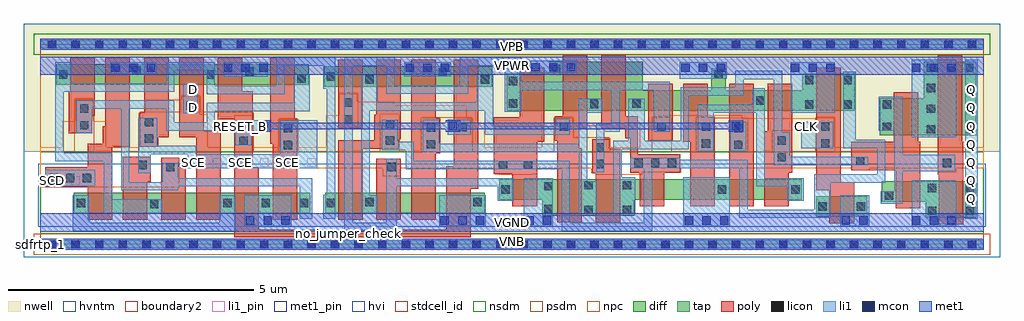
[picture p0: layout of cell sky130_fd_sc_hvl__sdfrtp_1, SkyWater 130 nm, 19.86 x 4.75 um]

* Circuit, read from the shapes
.subckt sky130_fd_sc_hvl__sdfrtp_1 CLK D Q RESET_B SCD SCE VGND VNB VPB VPWR
XM1 n1 SCD n2 VNB sky130_fd_pr__nfet_g5v0d10v5 w=0.42 l=0.5
XM2 n3 SCE n1 VNB sky130_fd_pr__nfet_g5v0d10v5 w=0.42 l=0.5
XM3 n4 n5 n3 VNB sky130_fd_pr__nfet_g5v0d10v5 w=0.42 l=0.5
XM4 n2 D n4 VNB sky130_fd_pr__nfet_g5v0d10v5 w=0.42 l=0.5
XM5 VGND RESET_B n2 VNB sky130_fd_pr__nfet_g5v0d10v5 w=0.42 l=0.5
XM6 n5 SCE VGND VNB sky130_fd_pr__nfet_g5v0d10v5 w=0.42 l=0.5
XM7 n6 n7 n3 VNB sky130_fd_pr__nfet_g5v0d10v5 w=0.42 l=0.5
XM8 n8 n9 n6 VNB sky130_fd_pr__nfet_g5v0d10v5 w=0.42 l=0.5
XM9 n10 n11 n8 VNB sky130_fd_pr__nfet_g5v0d10v5 w=0.42 l=0.5
XM10 VGND RESET_B n10 VNB sky130_fd_pr__nfet_g5v0d10v5 w=0.42 l=0.5
XM11 VGND n7 n9 VNB sky130_fd_pr__nfet_g5v0d10v5 w=0.42 l=0.5
XM12 n11 n6 VGND VNB sky130_fd_pr__nfet_g5v0d10v5 w=0.75 l=0.5
XM13 n12 n9 n11 VNB sky130_fd_pr__nfet_g5v0d10v5 w=0.75 l=0.5
XM14 n13 n7 n12 VNB sky130_fd_pr__nfet_g5v0d10v5 w=0.42 l=0.5
XM15 VGND n14 n13 VNB sky130_fd_pr__nfet_g5v0d10v5 w=0.42 l=0.5
XM16 n15 RESET_B VGND VNB sky130_fd_pr__nfet_g5v0d10v5 w=0.42 l=0.5
XM17 n14 n12 n15 VNB sky130_fd_pr__nfet_g5v0d10v5 w=0.42 l=0.5
XM18 VGND CLK n7 VNB sky130_fd_pr__nfet_g5v0d10v5 w=0.42 l=0.5
XM19 VGND n12 n16 VNB sky130_fd_pr__nfet_g5v0d10v5 w=0.42 l=0.5
XM20 Q n16 VGND VNB sky130_fd_pr__nfet_g5v0d10v5 w=0.75 l=0.5
XM21 n17 n5 n3 VPB sky130_fd_pr__pfet_g5v0d10v5 w=0.42 l=0.5
XM22 VPWR SCD n17 VPB sky130_fd_pr__pfet_g5v0d10v5 w=0.42 l=0.5
XM23 n18 SCE VPWR VPB sky130_fd_pr__pfet_g5v0d10v5 w=0.42 l=0.5
XM24 n3 D n18 VPB sky130_fd_pr__pfet_g5v0d10v5 w=0.42 l=0.5
XM25 VPWR RESET_B n3 VPB sky130_fd_pr__pfet_g5v0d10v5 w=0.42 l=0.5
XM26 n5 SCE VPWR VPB sky130_fd_pr__pfet_g5v0d10v5 w=0.42 l=0.5
XM27 n6 n9 n3 VPB sky130_fd_pr__pfet_g5v0d10v5 w=0.42 l=0.5
XM28 n19 n7 n6 VPB sky130_fd_pr__pfet_g5v0d10v5 w=0.42 l=0.5
XM29 VPWR n11 n19 VPB sky130_fd_pr__pfet_g5v0d10v5 w=0.42 l=0.5
XM30 n6 RESET_B VPWR VPB sky130_fd_pr__pfet_g5v0d10v5 w=0.42 l=0.5
XM31 VPWR n7 n9 VPB sky130_fd_pr__pfet_g5v0d10v5 w=0.75 l=0.5
XM32 n11 n6 VPWR VPB sky130_fd_pr__pfet_g5v0d10v5 w=1 l=0.5
XM33 n12 n7 n11 VPB sky130_fd_pr__pfet_g5v0d10v5 w=1 l=0.5
XM34 n20 n9 n12 VPB sky130_fd_pr__pfet_g5v0d10v5 w=0.42 l=0.5
XM35 VPWR n14 n20 VPB sky130_fd_pr__pfet_g5v0d10v5 w=0.42 l=0.5
XM36 n14 RESET_B VPWR VPB sky130_fd_pr__pfet_g5v0d10v5 w=0.42 l=0.5
XM37 VPWR n12 n14 VPB sky130_fd_pr__pfet_g5v0d10v5 w=0.42 l=0.5
XM38 n7 CLK VPWR VPB sky130_fd_pr__pfet_g5v0d10v5 w=0.75 l=0.5
XM39 VPWR n12 n16 VPB sky130_fd_pr__pfet_g5v0d10v5 w=0.75 l=0.5
XM40 Q n16 VPWR VPB sky130_fd_pr__pfet_g5v0d10v5 w=1.5 l=0.5
.ends

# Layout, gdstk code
import gdstk
lib = gdstk.Library(unit=1e-6, precision=1e-09)
def R(c, l, rs):  # rectangles x0, y0, x1, y1
    for r in rs: c.add(gdstk.rectangle(r[:2], r[2:], *l))
def A(c, l, x, y, w, h, nx, ny, dx, dy):  # array of equal rectangles
    R(c, l, [(x+i*dx, y+j*dy, x+i*dx+w, y+j*dy+h) for i in range(nx) for j in range(ny)])
def P(c, l, *ps):  # polygons
    for p in ps: c.add(gdstk.Polygon(p, *l))
nwell = (64, 20)
diff = (65, 20)
tap = (65, 44)
poly = (66, 20)
licon = (66, 44)
li1_pin = (67, 16)
li1 = (67, 20)
mcon = (67, 44)
met1_pin = (68, 16)
met1 = (68, 20)
hvi = (75, 20)
stdcell_id = (81, 4)
nsdm = (93, 44)
psdm = (94, 20)
npc = (95, 20)
hvntm = (125, 20)
boundary2 = (236, 0)

sky130_fd_sc_hvl__sdfrtp = lib.new_cell('sky130_fd_sc_hvl__sdfrtp_1')
R(sky130_fd_sc_hvl__sdfrtp, nwell, [(-0.33,1.885,19.53,4.485)])
R(sky130_fd_sc_hvl__sdfrtp, diff, [(15.795,0.555,16.825,0.975), (0.685,0.63,5.495,1.05), (5.795,0.63,9.045,1.05), (5.775,3.205,9.195,3.625), (0.325,3.245,5.465,3.665)])
P(sky130_fd_sc_hvl__sdfrtp, diff, [(15.495,1.325),(9.345,1.325),(9.345,0.905),(10.22,0.905),(10.22,0.575),(12.085,0.575),(12.085,0.905),(15.495,0.905)],
  [(16.575,3.465),(15.505,3.465),(15.505,3.135),(13.945,3.135),(13.945,3.58),(13.655,3.58),(13.655,3.135),(12.26,3.135),(12.26,3.715),(10.37,3.715),(10.37,3.465),(9.495,3.465),(9.495,2.715),(16.575,2.715)],
  [(19.05,3.715),(17.98,3.715),(17.98,2.965),(17.085,2.965),(17.085,2.215),(19.05,2.215)],
  [(19.05,1.285),(17.125,1.285),(17.125,0.865),(18.02,0.865),(18.02,0.535),(19.05,0.535)])
R(sky130_fd_sc_hvl__sdfrtp, tap, [(0,-0.085,19.2,0.085), (0,3.985,19.2,4.155)])
R(sky130_fd_sc_hvl__sdfrtp, poly, [(6.84,0.5,7.34,1.735), (14.02,0.775,14.52,3.265), (12.37,2.105,12.87,3.265), (6.06,2.355,6.56,3.755)])
P(sky130_fd_sc_hvl__sdfrtp, poly, [(1.11,3.795),(0.61,3.795),(0.61,3.115),(0.58,3.115),(0.58,2.255),(1.06,2.255),(1.06,2.615),(1.11,2.615)],
  [(1.82,3.795),(1.32,3.795),(1.32,2.405),(1.27,2.405),(1.27,2.045),(0.97,2.045),(0.97,1.565),(0.105,1.565),(0.105,1.16),(0.97,1.16),(0.97,0.5),(1.47,0.5),(1.47,1.985),(1.82,1.985)],
  [(2.25,1.775),(1.68,1.775),(1.68,0.5),(2.18,0.5),(2.18,1.275),(2.25,1.275)],
  [(2.62,3.795),(2.12,3.795),(2.12,2.675),(2.03,2.675),(2.03,1.985),(2.4,1.985),(2.4,2.175),(2.62,2.175)],
  [(2.96,1.565),(2.83,1.565),(2.83,1.755),(2.46,1.755),(2.46,0.5),(2.96,0.5)],
  [(3.67,2.305),(3.33,2.305),(3.33,3.795),(2.83,3.795),(2.83,2.175),(3.17,2.175),(3.17,0.5),(3.67,0.5)],
  [(5.23,2.545),(5.18,2.545),(5.18,3.795),(4.68,3.795),(4.68,2.045),(4.73,2.045),(4.73,0.5),(5.23,0.5)],
  [(7.34,3.755),(6.84,3.755),(6.84,2.635),(6.8,2.635),(6.8,2.115),(6.06,2.115),(6.06,0.5),(6.56,0.5),(6.56,1.945),(7.3,1.945),(7.3,2.135),(7.34,2.135)],
  [(8.135,2.56),(8.05,2.56),(8.05,3.755),(7.55,3.755),(7.55,0.5),(8.05,0.5),(8.05,1.85),(8.135,1.85)],
  [(8.91,3.755),(8.41,3.755),(8.41,1.585),(8.26,1.585),(8.26,0.29),(4.45,0.29),(4.45,1.565),(4.32,1.565),(4.32,3.115),(4.11,3.115),(4.11,3.795),(3.61,3.795),(3.61,2.545),(3.95,2.545),(3.95,0.14),(8.76,0.14),(8.76,1.125),(8.91,1.125)],
  [(10.26,3.595),(9.76,3.595),(9.76,2.585),(9.23,2.585),(9.23,1.435),(9.61,1.435),(9.61,0.775),(10.11,0.775),(10.11,2.085),(10.26,2.085)],
  [(11.135,3.845),(10.635,3.845),(10.635,2.605),(10.47,2.605),(10.47,2.105),(10.52,2.105),(10.52,0.445),(11.02,0.445),(11.02,1.955),(10.97,1.955),(10.97,2.35),(11.135,2.35)],
  [(11.8,1.945),(11.58,1.945),(11.58,2.14),(11.23,2.14),(11.23,1.445),(11.3,1.445),(11.3,0.445),(11.8,0.445)],
  [(13.02,1.835),(12.16,1.835),(12.16,2.605),(11.915,2.605),(11.915,3.845),(11.415,3.845),(11.415,2.35),(11.9,2.35),(11.9,2.155),(12.01,2.155),(12.01,1.455),(12.195,1.455),(12.195,0.775),(12.695,0.775),(12.695,1.455),(13.02,1.455)],
  [(13.73,2.585),(13.58,2.585),(13.58,3.265),(13.08,3.265),(13.08,2.085),(13.23,2.085),(13.23,0.775),(13.73,0.775)],
  [(15.3,3.265),(14.8,3.265),(14.8,2.295),(14.73,2.295),(14.73,0.775),(15.23,0.775),(15.23,1.455),(15.3,1.455)],
  [(16.56,1.265),(16.29,1.265),(16.29,3.595),(15.79,3.595),(15.79,1.095),(16.06,1.095),(16.06,0.425),(16.56,0.425)],
  [(17.91,2.085),(17.87,2.085),(17.87,3.095),(17.37,3.095),(17.37,2.085),(16.5,2.085),(16.5,1.505),(17.41,1.505),(17.41,0.735),(17.91,0.735)],
  [(18.785,2.085),(18.765,2.085),(18.765,3.845),(18.265,3.845),(18.265,1.415),(18.285,1.415),(18.285,0.405),(18.785,0.405)])
A(sky130_fd_sc_hvl__sdfrtp, licon, 0.155, -0.085, 0.17, 0.17, 40, 2, 0.48, 4.07)
A(sky130_fd_sc_hvl__sdfrtp, licon, 3.725, 0.755, 0.17, 0.17, 3, 1, 0.78, 0)
A(sky130_fd_sc_hvl__sdfrtp, licon, 0.185, 1.26, 0.17, 0.17, 3, 1, 0.34, 0)
A(sky130_fd_sc_hvl__sdfrtp, licon, 12.09, 1.565, 0.17, 0.17, 3, 1, 0.34, 0)
R(sky130_fd_sc_hvl__sdfrtp, licon, [(18.06,0.595,18.23,0.765), (18.84,0.595,19.01,0.765), (11.075,0.615,11.245,0.785), (11.855,0.615,12.025,0.785), (10.26,0.635,10.43,0.805), (15.835,0.68,16.005,0.85), (16.615,0.68,16.785,0.85), (2.235,0.735,2.405,0.905), (0.745,0.755,0.915,0.925), (5.835,0.755,6.005,0.925), (6.615,0.775,6.785,0.945), (8.815,0.775,8.985,0.945), (17.185,0.905,17.355,1.075), (9.385,1.03,9.555,1.2), (13.785,1.03,13.955,1.2), (15.285,1.03,15.455,1.2), (18.06,1.055,18.23,1.225), (18.84,1.055,19.01,1.225), (10.26,1.095,10.43,1.265), (11.075,1.115,11.245,1.285), (11.855,1.115,12.025,1.285), (2.56,1.485,2.73,1.655), (7.065,1.485,7.235,1.655), (1.995,1.525,2.165,1.695), (9.33,1.525,9.5,1.695), (9.84,1.525,10.01,1.695), (11.31,1.545,11.48,1.715), (18.365,1.565,18.535,1.735), (16.6,1.605,16.77,1.775), (15.005,1.685,15.175,1.855), (11.31,1.885,11.48,2.055), (4.96,1.935,5.13,2.105), (14.12,1.94,14.29,2.11), (7.865,1.95,8.035,2.12), (13.46,1.965,13.63,2.135), (15.89,1.965,16.06,2.135), (4.05,2.015,4.22,2.185), (7.03,2.025,7.2,2.195), (15.005,2.025,15.175,2.195), (2.13,2.065,2.3,2.235), (18.04,2.255,18.21,2.425), (18.82,2.255,18.99,2.425), (4.96,2.275,5.13,2.445), (14.12,2.28,14.29,2.45), (7.865,2.29,8.035,2.46), (8.51,2.295,8.68,2.465), (10.57,2.305,10.74,2.475), (12.56,2.305,12.73,2.475), (13.46,2.305,13.63,2.475), (15.89,2.305,16.06,2.475), (17.145,2.305,17.315,2.475), (0.81,2.335,0.98,2.505), (4.05,2.355,4.22,2.525), (7.03,2.365,7.2,2.535), (2.13,2.405,2.3,2.575), (6.185,2.455,6.355,2.625), (18.04,2.67,18.21,2.84), (18.82,2.67,18.99,2.84), (0.81,2.675,0.98,2.845), (2.975,2.74,3.145,2.91), (15.565,2.755,15.735,2.925), (16.345,2.755,16.515,2.925), (17.145,2.755,17.315,2.925), (11.19,2.77,11.36,2.94), (9.535,2.775,9.705,2.945), (12.05,2.78,12.22,2.95), (6.185,2.795,6.355,2.965), (14.575,2.84,14.745,3.01), (18.04,3.09,18.21,3.26), (18.82,3.09,18.99,3.26), (9.535,3.235,9.705,3.405), (15.565,3.255,15.735,3.425), (16.345,3.255,16.515,3.425), (6.615,3.265,6.785,3.435), (8.965,3.265,9.135,3.435), (5.235,3.285,5.405,3.455), (5.835,3.33,6.005,3.5), (0.385,3.37,0.555,3.54), (3.385,3.37,3.555,3.54), (13.715,3.37,13.885,3.54), (8.105,3.415,8.275,3.585), (4.17,3.43,4.34,3.6), (1.875,3.455,2.045,3.625), (10.41,3.485,10.58,3.655), (18.04,3.505,18.21,3.675), (18.82,3.505,18.99,3.675)])
A(sky130_fd_sc_hvl__sdfrtp, li1_pin, 18.875, 0.84, 0.17, 0.17, 1, 7, 0, 0.37)
A(sky130_fd_sc_hvl__sdfrtp, li1_pin, 3.035, 1.58, 0.17, 0.17, 6, 1, 0.48, 0)
R(sky130_fd_sc_hvl__sdfrtp, li1_pin, [(0.155,1.21,0.325,1.38), (0.635,1.21,0.805,1.38), (3.995,2.32,4.165,2.49), (15.515,2.32,15.685,2.49), (3.035,2.69,3.205,2.86), (3.035,3.06,3.205,3.23)])
R(sky130_fd_sc_hvl__sdfrtp, li1, [(0,-0.085,19.2,0.085), (4.155,0.365,5.105,0.995), (8.115,0.365,9.065,0.995), (9.84,0.365,10.43,1.345), (13.085,0.365,14.035,1.365), (16.275,0.365,16.865,0.995), (17.73,0.365,18.64,1.305), (18.82,0.515,19.075,3.755), (0.105,1.18,1.115,1.51), (14.04,1.895,14.37,2.49), (15.485,1.955,16.14,2.495), (17.73,2.175,18.64,3.755), (8.295,2.225,8.76,2.535), (2.91,2.66,3.205,3.26), (15.275,2.675,16.165,3.705), (13.015,3.37,13.965,3.705), (3.735,3.405,4.625,3.705), (7.405,3.415,8.355,3.705), (1.42,3.455,2.37,3.705), (9.965,3.485,10.915,3.735), (0,3.985,19.2,4.155)])
P(sky130_fd_sc_hvl__sdfrtp, li1, [(3.975,0.995),(3.645,0.995),(3.645,0.435),(0.995,0.435),(0.995,0.995),(0.665,0.995),(0.665,0.265),(3.975,0.265)],
  [(4.675,2.525),(3.965,2.525),(3.965,2.015),(4.3,2.015),(4.3,2.29),(4.675,2.29)],
  [(5.535,1.345),(2.81,1.345),(2.81,1.655),(2.48,1.655),(2.48,1.265),(1.815,1.265),(1.815,2.755),(2.56,2.755),(2.56,2.31),(3.555,2.31),(3.555,2.705),(5.485,2.705),(5.485,3.455),(5.155,3.455),(5.155,2.875),(3.385,2.875),(3.385,2.48),(2.73,2.48),(2.73,2.925),(0.73,2.925),(0.73,2.255),(1.06,2.255),(1.06,2.755),(1.645,2.755),(1.645,1.095),(2.81,1.095),(2.81,1.175),(5.285,1.175),(5.285,0.515),(5.535,0.515)],
  [(5.635,2.525),(4.88,2.525),(4.88,1.835),(3.175,1.835),(3.175,2.005),(2.38,2.005),(2.38,2.575),(1.995,2.575),(1.995,1.445),(2.245,1.445),(2.245,1.835),(3.005,1.835),(3.005,1.55),(5.635,1.55)],
  [(6.005,3.805),(4.805,3.805),(4.805,3.225),(3.555,3.225),(3.555,3.705),(2.56,3.705),(2.56,3.275),(0.635,3.275),(0.635,3.705),(0.305,3.705),(0.305,1.69),(1.295,1.69),(1.295,0.615),(2.485,0.615),(2.485,0.915),(1.465,0.915),(1.465,1.86),(0.475,1.86),(0.475,3.105),(2.73,3.105),(2.73,3.535),(3.385,3.535),(3.385,3.055),(4.975,3.055),(4.975,3.635),(5.755,3.635),(5.755,3.165),(5.835,3.165),(5.835,1.005),(5.755,1.005),(5.755,0.515),(6.005,0.515)],
  [(10.78,2.555),(10.49,2.555),(10.49,2.395),(9.215,2.395),(9.215,3.455),(8.885,3.455),(8.885,2.885),(6.865,2.885),(6.865,3.455),(6.535,3.455),(6.535,0.615),(6.865,0.615),(6.865,0.995),(6.705,0.995),(6.705,2.715),(9.045,2.715),(9.045,2.225),(10.78,2.225)],
  [(11.44,2.955),(10.96,2.955),(10.96,2.045),(8.115,2.045),(8.115,2.535),(7.785,2.535),(7.785,1.875),(10.96,1.875),(10.96,0.615),(11.325,0.615),(11.325,1.285),(11.13,1.285),(11.13,2.675),(11.44,2.675)],
  [(12.81,3.305),(9.785,3.305),(9.785,3.805),(8.535,3.805),(8.535,3.235),(7.215,3.235),(7.215,3.805),(6.185,3.805),(6.185,0.265),(7.255,0.265),(7.255,1.175),(9.305,1.175),(9.305,0.885),(9.635,0.885),(9.635,1.345),(7.255,1.345),(7.255,1.735),(7.045,1.735),(7.045,0.435),(6.355,0.435),(6.355,3.635),(7.045,3.635),(7.045,3.065),(8.705,3.065),(8.705,3.635),(9.455,3.635),(9.455,2.695),(9.785,2.695),(9.785,3.135),(11.62,3.135),(11.62,2.455),(11.31,2.455),(11.31,1.465),(11.48,1.465),(11.48,2.285),(11.79,2.285),(11.79,3.135),(12.48,3.135),(12.48,2.285),(12.81,2.285)],
  [(15.535,1.345),(14.745,1.345),(14.745,3.175),(14.495,3.175),(14.495,2.84),(13.38,2.84),(13.38,1.895),(13.71,1.895),(13.71,2.67),(14.575,2.67),(14.575,1.175),(15.205,1.175),(15.205,0.885),(15.535,0.885)],
  [(16.85,1.775),(15.255,1.775),(15.255,2.275),(15.095,2.275),(15.095,3.525),(14.145,3.525),(14.145,3.19),(13.03,3.19),(13.03,2.105),(12.3,2.105),(12.3,2.955),(11.97,2.955),(11.97,2.105),(11.66,2.105),(11.66,0.615),(12.105,0.615),(12.105,1.365),(11.83,1.365),(11.83,1.935),(13.2,1.935),(13.2,3.02),(14.315,3.02),(14.315,3.355),(14.925,3.355),(14.925,1.605),(16.85,1.605)],
  [(17.2,2.125),(16.595,2.125),(16.595,3.505),(16.345,3.505),(16.345,1.955),(17.03,1.955),(17.03,1.425),(15.755,1.425),(15.755,0.705),(14.395,0.705),(14.395,1.715),(13.02,1.715),(13.02,1.755),(12.01,1.755),(12.01,1.545),(12.285,1.545),(12.285,0.435),(10.78,0.435),(10.78,1.695),(7.605,1.695),(7.605,2.085),(7.28,2.085),(7.28,2.535),(6.95,2.535),(6.95,1.915),(7.435,1.915),(7.435,1.525),(10.61,1.525),(10.61,0.265),(12.455,0.265),(12.455,1.545),(14.225,1.545),(14.225,0.535),(16.085,0.535),(16.085,1.255),(17.2,1.255)],
  [(18.615,1.815),(17.55,1.815),(17.55,3.005),(17.065,3.005),(17.065,2.305),(17.38,2.305),(17.38,1.075),(17.105,1.075),(17.105,0.825),(17.55,0.825),(17.55,1.485),(18.615,1.485)])
A(sky130_fd_sc_hvl__sdfrtp, mcon, 4.185, 0.395, 0.17, 0.17, 3, 1, 0.36, 0)
A(sky130_fd_sc_hvl__sdfrtp, mcon, 8.145, 0.395, 0.17, 0.17, 3, 1, 0.36, 0)
A(sky130_fd_sc_hvl__sdfrtp, mcon, 13.115, 0.395, 0.17, 0.17, 3, 1, 0.36, 0)
A(sky130_fd_sc_hvl__sdfrtp, mcon, 17.74, 0.395, 0.17, 0.17, 3, 2, 0.36, 3.11)
A(sky130_fd_sc_hvl__sdfrtp, mcon, 1.45, 3.505, 0.17, 0.17, 3, 1, 0.36, 0)
A(sky130_fd_sc_hvl__sdfrtp, mcon, 3.735, 3.505, 0.17, 0.17, 3, 1, 0.36, 0)
A(sky130_fd_sc_hvl__sdfrtp, mcon, 7.435, 3.505, 0.17, 0.17, 3, 1, 0.36, 0)
A(sky130_fd_sc_hvl__sdfrtp, mcon, 13.045, 3.505, 0.17, 0.17, 3, 1, 0.36, 0)
A(sky130_fd_sc_hvl__sdfrtp, mcon, 15.275, 3.505, 0.17, 0.17, 3, 1, 0.36, 0)
A(sky130_fd_sc_hvl__sdfrtp, mcon, 9.995, 3.515, 0.17, 0.17, 3, 1, 0.36, 0)
R(sky130_fd_sc_hvl__sdfrtp, mcon, [(0.155,-0.085,0.325,0.085), (0.155,-0.085,0.325,0.085), (0.635,-0.085,0.805,0.085), (0.635,-0.085,0.805,0.085), (1.115,-0.085,1.285,0.085), (1.115,-0.085,1.285,0.085), (1.595,-0.085,1.765,0.085), (1.595,-0.085,1.765,0.085), (2.075,-0.085,2.245,0.085), (2.075,-0.085,2.245,0.085), (2.555,-0.085,2.725,0.085), (2.555,-0.085,2.725,0.085), (3.035,-0.085,3.205,0.085), (3.035,-0.085,3.205,0.085), (3.515,-0.085,3.685,0.085), (3.515,-0.085,3.685,0.085), (3.995,-0.085,4.165,0.085), (3.995,-0.085,4.165,0.085), (4.475,-0.085,4.645,0.085), (4.475,-0.085,4.645,0.085), (4.955,-0.085,5.125,0.085), (4.955,-0.085,5.125,0.085), (5.435,-0.085,5.605,0.085), (5.435,-0.085,5.605,0.085), (5.915,-0.085,6.085,0.085), (5.915,-0.085,6.085,0.085), (6.395,-0.085,6.565,0.085), (6.395,-0.085,6.565,0.085), (6.875,-0.085,7.045,0.085), (6.875,-0.085,7.045,0.085), (7.355,-0.085,7.525,0.085), (7.355,-0.085,7.525,0.085), (7.835,-0.085,8.005,0.085), (7.835,-0.085,8.005,0.085), (8.315,-0.085,8.485,0.085), (8.315,-0.085,8.485,0.085), (8.795,-0.085,8.965,0.085), (8.795,-0.085,8.965,0.085), (9.275,-0.085,9.445,0.085), (9.275,-0.085,9.445,0.085), (9.755,-0.085,9.925,0.085), (9.755,-0.085,9.925,0.085), (10.235,-0.085,10.405,0.085), (10.235,-0.085,10.405,0.085), (10.715,-0.085,10.885,0.085), (10.715,-0.085,10.885,0.085), (11.195,-0.085,11.365,0.085), (11.195,-0.085,11.365,0.085), (11.675,-0.085,11.845,0.085), (11.675,-0.085,11.845,0.085), (12.155,-0.085,12.325,0.085), (12.155,-0.085,12.325,0.085), (12.635,-0.085,12.805,0.085), (12.635,-0.085,12.805,0.085), (13.115,-0.085,13.285,0.085), (13.115,-0.085,13.285,0.085), (13.595,-0.085,13.765,0.085), (13.595,-0.085,13.765,0.085), (14.075,-0.085,14.245,0.085), (14.075,-0.085,14.245,0.085), (14.555,-0.085,14.725,0.085), (14.555,-0.085,14.725,0.085), (15.035,-0.085,15.205,0.085), (15.035,-0.085,15.205,0.085), (15.515,-0.085,15.685,0.085), (15.515,-0.085,15.685,0.085), (15.995,-0.085,16.165,0.085), (15.995,-0.085,16.165,0.085), (16.475,-0.085,16.645,0.085), (16.475,-0.085,16.645,0.085), (16.955,-0.085,17.125,0.085), (16.955,-0.085,17.125,0.085), (17.435,-0.085,17.605,0.085), (17.435,-0.085,17.605,0.085), (17.915,-0.085,18.085,0.085), (17.915,-0.085,18.085,0.085), (18.395,-0.085,18.565,0.085), (18.395,-0.085,18.565,0.085), (18.875,-0.085,19.045,0.085), (18.875,-0.085,19.045,0.085), (9.87,0.395,10.04,0.565), (10.23,0.395,10.4,0.565), (16.305,0.395,16.475,0.565), (16.665,0.395,16.835,0.565), (4.475,2.32,4.645,2.49), (8.315,2.32,8.485,2.49), (14.075,2.32,14.245,2.49), (0.155,3.985,0.325,4.155), (0.155,3.985,0.325,4.155), (0.635,3.985,0.805,4.155), (0.635,3.985,0.805,4.155), (1.115,3.985,1.285,4.155), (1.115,3.985,1.285,4.155), (1.595,3.985,1.765,4.155), (1.595,3.985,1.765,4.155), (2.075,3.985,2.245,4.155), (2.075,3.985,2.245,4.155), (2.555,3.985,2.725,4.155), (2.555,3.985,2.725,4.155), (3.035,3.985,3.205,4.155), (3.035,3.985,3.205,4.155), (3.515,3.985,3.685,4.155), (3.515,3.985,3.685,4.155), (3.995,3.985,4.165,4.155), (3.995,3.985,4.165,4.155), (4.475,3.985,4.645,4.155), (4.475,3.985,4.645,4.155), (4.955,3.985,5.125,4.155), (4.955,3.985,5.125,4.155), (5.435,3.985,5.605,4.155), (5.435,3.985,5.605,4.155), (5.915,3.985,6.085,4.155), (5.915,3.985,6.085,4.155), (6.395,3.985,6.565,4.155), (6.395,3.985,6.565,4.155), (6.875,3.985,7.045,4.155), (6.875,3.985,7.045,4.155), (7.355,3.985,7.525,4.155), (7.355,3.985,7.525,4.155), (7.835,3.985,8.005,4.155), (7.835,3.985,8.005,4.155), (8.315,3.985,8.485,4.155), (8.315,3.985,8.485,4.155), (8.795,3.985,8.965,4.155), (8.795,3.985,8.965,4.155), (9.275,3.985,9.445,4.155), (9.275,3.985,9.445,4.155), (9.755,3.985,9.925,4.155), (9.755,3.985,9.925,4.155), (10.235,3.985,10.405,4.155), (10.235,3.985,10.405,4.155), (10.715,3.985,10.885,4.155), (10.715,3.985,10.885,4.155), (11.195,3.985,11.365,4.155), (11.195,3.985,11.365,4.155), (11.675,3.985,11.845,4.155), (11.675,3.985,11.845,4.155), (12.155,3.985,12.325,4.155), (12.155,3.985,12.325,4.155), (12.635,3.985,12.805,4.155), (12.635,3.985,12.805,4.155), (13.115,3.985,13.285,4.155), (13.115,3.985,13.285,4.155), (13.595,3.985,13.765,4.155), (13.595,3.985,13.765,4.155), (14.075,3.985,14.245,4.155), (14.075,3.985,14.245,4.155), (14.555,3.985,14.725,4.155), (14.555,3.985,14.725,4.155), (15.035,3.985,15.205,4.155), (15.035,3.985,15.205,4.155), (15.515,3.985,15.685,4.155), (15.515,3.985,15.685,4.155), (15.995,3.985,16.165,4.155), (15.995,3.985,16.165,4.155), (16.475,3.985,16.645,4.155), (16.475,3.985,16.645,4.155), (16.955,3.985,17.125,4.155), (16.955,3.985,17.125,4.155), (17.435,3.985,17.605,4.155), (17.435,3.985,17.605,4.155), (17.915,3.985,18.085,4.155), (17.915,3.985,18.085,4.155), (18.395,3.985,18.565,4.155), (18.395,3.985,18.565,4.155), (18.875,3.985,19.045,4.155), (18.875,3.985,19.045,4.155)])
R(sky130_fd_sc_hvl__sdfrtp, met1_pin, [(0,0,19.2,0.115), (0,0.255,19.2,0.625), (0,3.445,19.2,3.815), (0,3.955,19.2,4.07)])
R(sky130_fd_sc_hvl__sdfrtp, met1, [(0,-0.115,19.2,0.115), (0,0.255,19.2,0.625), (0,3.445,19.2,3.815), (0,3.955,19.2,4.185)])
P(sky130_fd_sc_hvl__sdfrtp, met1, [(8.545,2.475),(14.015,2.475),(14.015,2.52),(14.305,2.52),(14.305,2.29),(14.015,2.29),(14.015,2.335),(8.545,2.335),(8.545,2.29),(8.255,2.29),(8.255,2.335),(4.705,2.335),(4.705,2.29),(4.415,2.29),(4.415,2.52),(4.705,2.52),(4.705,2.475),(8.255,2.475),(8.255,2.52),(8.545,2.52)])
R(sky130_fd_sc_hvl__sdfrtp, hvi, [(-0.33,-0.265,19.53,4.485)])
R(sky130_fd_sc_hvl__sdfrtp, stdcell_id, [(0,0,19.2,4.07)])
R(sky130_fd_sc_hvl__sdfrtp, nsdm, [(0,0.215,19.2,1.885), (-0.13,3.855,19.33,4.285), (0,3.855,19.2,4.07)])
R(sky130_fd_sc_hvl__sdfrtp, psdm, [(-0.13,-0.215,19.33,0.215)])
P(sky130_fd_sc_hvl__sdfrtp, psdm, [(19.2,3.855),(6.465,3.855),(6.465,2.345),(6.075,2.345),(6.075,3.075),(6.465,3.075),(6.465,3.855),(0,3.855),(0,1.885),(0.7,1.885),(0.7,2.955),(1.09,2.955),(1.09,1.885),(2.02,1.885),(2.02,2.685),(2.865,2.685),(2.865,3.02),(3.255,3.02),(3.255,2.685),(4.33,2.685),(4.33,1.885),(4.85,1.885),(4.85,2.555),(5.24,2.555),(5.24,1.885),(6.92,1.885),(6.92,2.645),(7.31,2.645),(7.31,1.885),(7.755,1.885),(7.755,2.57),(8.4,2.57),(8.4,2.575),(8.79,2.575),(8.79,1.885),(10.46,1.885),(10.46,2.585),(10.85,2.585),(10.85,2.165),(11.59,2.165),(11.59,1.885),(12.45,1.885),(12.45,2.585),(12.84,2.585),(12.84,1.885),(13.35,1.885),(13.35,2.585),(13.74,2.585),(13.74,2.56),(14.4,2.56),(14.4,1.885),(14.895,1.885),(14.895,2.305),(15.285,2.305),(15.285,1.885),(15.78,1.885),(15.78,2.585),(16.17,2.585),(16.17,1.885),(19.2,1.885)])
P(sky130_fd_sc_hvl__sdfrtp, npc, [(19.2,1.97),(16.16,1.97),(16.16,2.575),(15.79,2.575),(15.79,2.56),(14.285,2.56),(14.285,2.625),(12.565,2.625),(12.565,2.575),(12.46,2.575),(12.46,2.47),(12.195,2.47),(12.195,1.97),(11.58,1.97),(11.58,2.155),(11.475,2.155),(11.475,2.42),(11.105,2.42),(11.105,2.47),(10.84,2.47),(10.84,2.575),(10.47,2.575),(10.47,2.47),(10.205,2.47),(10.205,1.97),(9.045,1.97),(9.045,2.46),(8.78,2.46),(8.78,2.565),(8.675,2.565),(8.675,2.825),(7.195,2.825),(7.195,2.9),(6.455,2.9),(6.455,3.065),(6.085,3.065),(6.085,2.62),(5.82,2.62),(5.82,1.97),(5.23,1.97),(5.23,2.545),(4.86,2.545),(4.86,1.97),(4.32,1.97),(4.32,2.625),(3.95,2.625),(3.95,1.97),(3.405,1.97),(3.405,2.64),(3.245,2.64),(3.245,3.01),(2.875,3.01),(2.875,2.94),(2.135,2.94),(2.135,2.675),(2.03,2.675),(2.03,1.97),(1.345,1.97),(1.345,2.5),(1.08,2.5),(1.08,2.945),(0.71,2.945),(0.71,2.5),(0.445,2.5),(0.445,1.97),(0,1.97),(0,1.16),(2.83,1.16),(2.83,1.545),(6.965,1.545),(6.965,1.385),(7.335,1.385),(7.335,1.545),(9.23,1.545),(9.23,1.425),(9.335,1.425),(9.335,1.415),(10.005,1.415),(10.005,1.425),(10.11,1.425),(10.11,1.545),(11.21,1.545),(11.21,1.445),(11.315,1.445),(11.315,1.415),(12.255,1.415),(12.255,1.465),(13.04,1.465),(13.04,1.545),(16.5,1.545),(16.5,1.505),(16.87,1.505),(16.87,1.545),(18.265,1.545),(18.265,1.465),(18.635,1.465),(18.635,1.545),(19.2,1.545)])
R(sky130_fd_sc_hvl__sdfrtp, hvntm, [(-0.035,0.35,19.235,1.64)])
R(sky130_fd_sc_hvl__sdfrtp, boundary2, [(0,0,19.2,4.07)])
sky130_fd_sc_hvl__sdfrtp.add(gdstk.Label('no_jumper_check', (6.28,0.215), layer=83, texttype=44))
sky130_fd_sc_hvl__sdfrtp.add(gdstk.Label('sdfrtp_1', (0,0), layer=83, texttype=44))
sky130_fd_sc_hvl__sdfrtp.add(gdstk.Label('VGND', (9.6,0.44), layer=68, texttype=5))
sky130_fd_sc_hvl__sdfrtp.add(gdstk.Label('VNB', (9.6,0.058), layer=68, texttype=5))
sky130_fd_sc_hvl__sdfrtp.add(gdstk.Label('VPWR', (9.6,3.63), layer=68, texttype=5))
sky130_fd_sc_hvl__sdfrtp.add(gdstk.Label('VPB', (9.6,4.013), layer=68, texttype=5))
sky130_fd_sc_hvl__sdfrtp.add(gdstk.Label('SCD', (0.24,1.295), layer=67, texttype=5))
sky130_fd_sc_hvl__sdfrtp.add(gdstk.Label('SCD', (0.72,1.295), layer=67, texttype=5))
sky130_fd_sc_hvl__sdfrtp.add(gdstk.Label('SCE', (3.12,1.665), layer=67, texttype=5))
sky130_fd_sc_hvl__sdfrtp.add(gdstk.Label('SCE', (3.6,1.665), layer=67, texttype=5))
sky130_fd_sc_hvl__sdfrtp.add(gdstk.Label('SCE', (4.08,1.665), layer=67, texttype=5))
sky130_fd_sc_hvl__sdfrtp.add(gdstk.Label('SCE', (4.56,1.665), layer=67, texttype=5))
sky130_fd_sc_hvl__sdfrtp.add(gdstk.Label('SCE', (5.04,1.665), layer=67, texttype=5))
sky130_fd_sc_hvl__sdfrtp.add(gdstk.Label('SCE', (5.52,1.665), layer=67, texttype=5))
sky130_fd_sc_hvl__sdfrtp.add(gdstk.Label('D', (3.12,2.775), layer=67, texttype=5))
sky130_fd_sc_hvl__sdfrtp.add(gdstk.Label('D', (3.12,3.145), layer=67, texttype=5))
sky130_fd_sc_hvl__sdfrtp.add(gdstk.Label('CLK', (15.6,2.405), layer=67, texttype=5))
sky130_fd_sc_hvl__sdfrtp.add(gdstk.Label('Q', (18.96,0.925), layer=67, texttype=5))
sky130_fd_sc_hvl__sdfrtp.add(gdstk.Label('Q', (18.96,1.295), layer=67, texttype=5))
sky130_fd_sc_hvl__sdfrtp.add(gdstk.Label('Q', (18.96,1.665), layer=67, texttype=5))
sky130_fd_sc_hvl__sdfrtp.add(gdstk.Label('Q', (18.96,2.035), layer=67, texttype=5))
sky130_fd_sc_hvl__sdfrtp.add(gdstk.Label('Q', (18.96,2.405), layer=67, texttype=5))
sky130_fd_sc_hvl__sdfrtp.add(gdstk.Label('Q', (18.96,2.775), layer=67, texttype=5))
sky130_fd_sc_hvl__sdfrtp.add(gdstk.Label('Q', (18.96,3.145), layer=67, texttype=5))
sky130_fd_sc_hvl__sdfrtp.add(gdstk.Label('RESET_B', (4.08,2.405), layer=67, texttype=5))

lib.write_gds('sky130_fd_sc_hvl__sdfrtp_1.gds')
